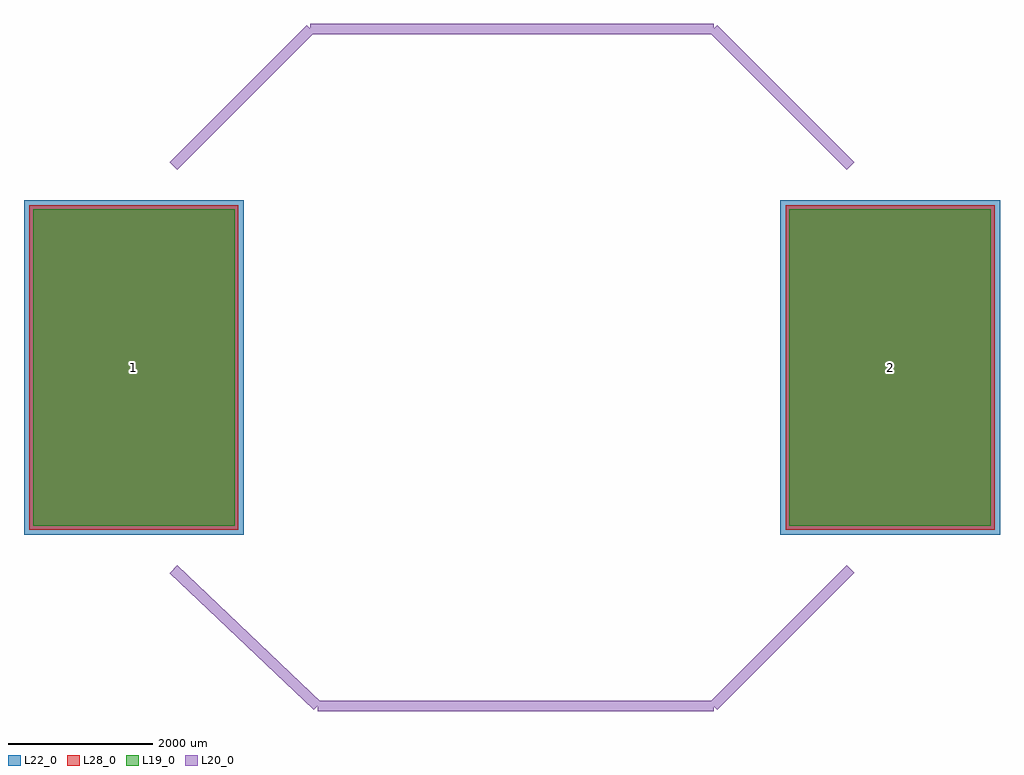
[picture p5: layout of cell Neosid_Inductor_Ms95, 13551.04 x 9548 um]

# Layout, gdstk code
import gdstk
lib = gdstk.Library(unit=1e-6, precision=1e-09)
def R(c, l, rs):  # rectangles x0, y0, x1, y1
    for r in rs: c.add(gdstk.rectangle(r[:2], r[2:], *l))
L19_0 = (19, 0)
L20_0 = (20, 0)
L22_0 = (22, 0)
L28_0 = (28, 0)

neosid_inductor_ms95 = lib.new_cell('Neosid_Inductor_Ms95')
R(neosid_inductor_ms95, L19_0, [(-6650.52,-2200.44,-3849.84,2200.44), (3849.84,-2200.44,6650.52,2200.44)])
R(neosid_inductor_ms95, L22_0, [(-6775.52,-2325.44,-3724.84,2325.44), (3724.84,-2325.44,6775.52,2325.44)])
R(neosid_inductor_ms95, L28_0, [(-6700.52,-2250.44,-3799.84,2250.44), (3799.84,-2250.44,6700.52,2250.44)])
neosid_inductor_ms95.add(gdstk.FlexPath([(-2799.08,4699),(-4699,2799.08)], 149.998, ends="flush", simple_path=True, layer=20, datatype=0))  # L20_0
neosid_inductor_ms95.add(gdstk.FlexPath([(2799.08,4699),(-2799.08,4699)], 149.998, ends="flush", simple_path=True, layer=20, datatype=0))  # L20_0
neosid_inductor_ms95.add(gdstk.FlexPath([(4699,2799.08),(2799.08,4699)], 149.998, ends="flush", simple_path=True, layer=20, datatype=0))  # L20_0
neosid_inductor_ms95.add(gdstk.FlexPath([(-2700.02,-4699),(-4699,-2799.08)], 149.998, ends="flush", simple_path=True, layer=20, datatype=0))  # L20_0
neosid_inductor_ms95.add(gdstk.FlexPath([(2799.08,-4699),(-2700.02,-4699)], 149.998, ends="flush", simple_path=True, layer=20, datatype=0))  # L20_0
neosid_inductor_ms95.add(gdstk.FlexPath([(4699,-2799.08),(2799.08,-4699)], 149.998, ends="flush", simple_path=True, layer=20, datatype=0))  # L20_0
neosid_inductor_ms95.add(gdstk.Label('2', (5250.18,0), layer=28, texttype=0))
neosid_inductor_ms95.add(gdstk.Label('1', (-5250.18,0), layer=28, texttype=0))
neosid_inductor_ms95.add(gdstk.Label('type', (200.66,-7399.02), layer=9, texttype=0))
neosid_inductor_ms95.add(gdstk.Label('devicename', (0,7200.9), layer=9, texttype=0))

lib.write_gds('Neosid_Inductor_Ms95.gds')
